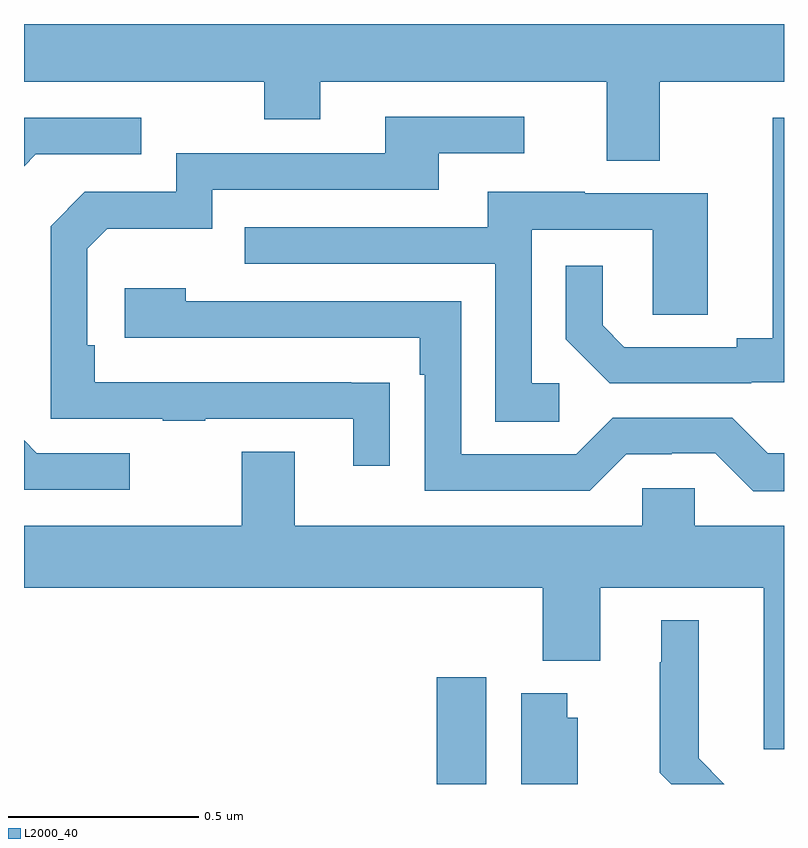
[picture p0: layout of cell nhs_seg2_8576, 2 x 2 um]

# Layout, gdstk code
import gdstk
lib = gdstk.Library(unit=1e-6, precision=1e-09)
def R(c, l, rs):  # rectangles x0, y0, x1, y1
    for r in rs: c.add(gdstk.rectangle(r[:2], r[2:], *l))
def P(c, l, *ps):  # polygons
    for p in ps: c.add(gdstk.Polygon(p, *l))
L2000_40 = (2000, 40)

nhs_seg2_8576 = lib.new_cell('nhs_seg2_8576')
R(nhs_seg2_8576, L2000_40, [(219.086,633.8,219.217,634.081)])
P(nhs_seg2_8576, L2000_40, [(219.673,635.648),(220,635.648),(220,635.8),(218,635.8),(218,635.648),(218.632,635.648),(218.632,635.549),(218.779,635.549),(218.779,635.648),(219.533,635.648),(219.533,635.44),(219.673,635.44)],
  [(218.963,634.856),(218.861,634.856),(218.861,634.857),(218.186,634.857),(218.186,634.954),(218.166,634.954),(218.166,635.208),(218.219,635.261),(218.496,635.261),(218.496,635.364),(219.091,635.364),(219.091,635.46),(219.316,635.46),(219.316,635.556),(218.951,635.556),(218.951,635.46),(218.4,635.46),(218.4,635.358),(218.16,635.358),(218.07,635.268),(218.07,634.761),(218.365,634.761),(218.365,634.756),(218.477,634.756),(218.477,634.761),(218.867,634.761),(218.867,634.638),(218.963,634.638)],
  [(218.031,635.457),(218.308,635.457),(218.308,635.553),(218,635.553),(218,635.426)],
  [(219.914,634.857),(220,634.857),(220,635.553),(219.971,635.553),(219.971,634.973),(219.875,634.973),(219.875,634.95),(219.58,634.95),(219.523,635.007),(219.523,635.164),(219.426,635.164),(219.426,634.97),(219.542,634.854),(219.914,634.854)],
  [(219.409,634.854),(219.336,634.854),(219.336,635.259),(219.654,635.259),(219.654,635.035),(219.799,635.035),(219.799,635.355),(219.475,635.355),(219.475,635.359),(219.221,635.359),(219.221,635.265),(218.581,635.265),(218.581,635.169),(219.24,635.169),(219.24,634.753),(219.409,634.753)],
  [(220,634.671),(219.957,634.671),(219.864,634.764),(219.549,634.764),(219.453,634.668),(219.15,634.668),(219.15,635.07),(218.426,635.07),(218.426,635.104),(218.265,635.104),(218.265,634.974),(219.041,634.974),(219.041,634.877),(219.054,634.877),(219.054,634.572),(219.489,634.572),(219.585,634.668),(219.704,634.668),(219.704,634.671),(219.819,634.671),(219.919,634.571),(220,634.571)],
  [(218.278,634.671),(218.034,634.671),(218,634.705),(218,634.575),(218.278,634.575)],
  [(220,634.48),(219.765,634.48),(219.765,634.578),(219.627,634.578),(219.627,634.48),(218.713,634.48),(218.713,634.675),(218.573,634.675),(218.573,634.48),(218,634.48),(218,634.316),(219.365,634.316),(219.365,634.124),(219.517,634.124),(219.517,634.316),(219.947,634.316),(219.947,633.891),(220,633.891)],
  [(219.775,633.868),(219.775,634.231),(219.677,634.231),(219.677,634.121),(219.673,634.121),(219.673,633.83),(219.703,633.8),(219.843,633.8)],
  [(219.457,633.975),(219.43,633.975),(219.43,634.039),(219.308,634.039),(219.308,633.8),(219.457,633.8)])

lib.write_gds('nhs_seg2_8576.gds')
